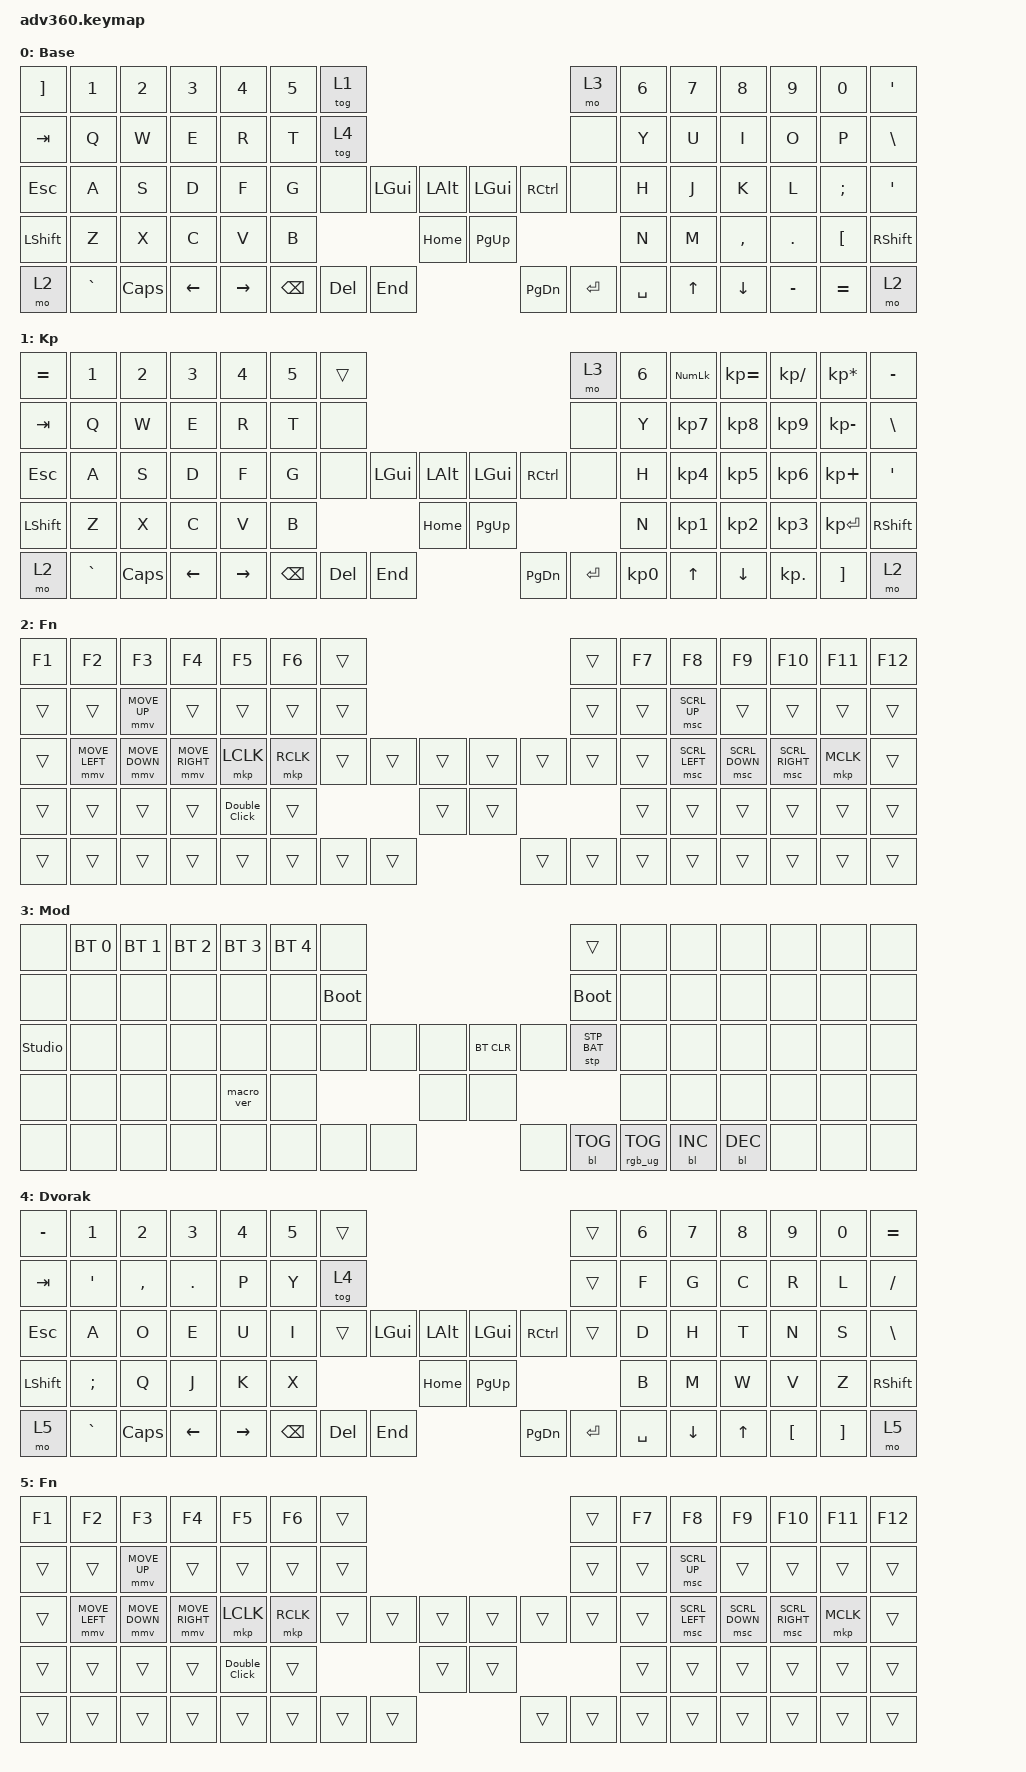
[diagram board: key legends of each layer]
#include <behaviors.dtsi>
#include <dt-bindings/zmk/keys.h>
#include <dt-bindings/zmk/bt.h>
#include <dt-bindings/zmk/rgb.h>
#include <dt-bindings/zmk/stp.h>
#include <dt-bindings/zmk/backlight.h>
#include <dt-bindings/zmk/pointing.h>

/ {
    behaviors {
      #include "macros.dtsi"
      #include "version.dtsi"

      hm: homerow_mods {
          compatible = "zmk,behavior-hold-tap";
          label = "HOMEROW_MODS";
          #binding-cells = <2>;
          tapping-term-ms = <200>;
          quick_tap_ms = <175>;
          flavor = "tap-preferred";
          bindings = <&kp>, <&kp>;
      };
    };

  keymap {
    compatible = "zmk,keymap";

    default_layer {
      display-name = "Base";
      bindings = <
        &kp RBKT  &kp N1    &kp N2   &kp N3   &kp N4     &kp N5 &tog 1                                                           &mo 3 &kp N6 &kp N7 &kp N8    &kp N9   &kp N0   &kp SQT
        &kp TAB   &kp Q     &kp W    &kp E    &kp R      &kp T  &tog 4                                                           &none &kp Y  &kp U  &kp I     &kp O    &kp P    &kp BSLH
        &kp ESC   &kp A     &kp S    &kp D    &kp F      &kp G  &none           &kp LGUI  &kp LALT &kp LGUI  &kp RCTRL           &none &kp H  &kp J  &kp K     &kp L    &kp SEMI &kp SQT
        &kp LSHFT &kp Z     &kp X    &kp C    &kp V      &kp B                            &kp HOME &kp PG_UP                           &kp N  &kp M  &kp COMMA &kp DOT  &kp LBKT &kp RSHFT
        &mo 2     &kp GRAVE &kp CAPS &kp LEFT &kp RIGHT                &kp BSPC &kp DEL   &kp END  &kp PG_DN &kp ENTER &kp SPACE              &kp UP &kp DOWN  &kp MINUS &kp EQUAL &mo 2
      >;
    };
    keypad {
      display-name = "Kp";
      bindings = <
        &kp EQUAL &kp N1    &kp N2   &kp N3   &kp N4     &kp N5 &trans                                                           &mo 3 &kp N6 &kp KP_NUM &kp KP_EQUAL &kp KP_DIVIDE &kp KP_MULTIPLY &kp MINUS
        &kp TAB   &kp Q     &kp W    &kp E    &kp R      &kp T  &none                                                            &none &kp Y  &kp KP_N7  &kp KP_N8    &kp KP_N9     &kp KP_MINUS    &kp BSLH
        &kp ESC   &kp A     &kp S    &kp D    &kp F      &kp G  &none           &kp LGUI  &kp LALT &kp LGUI  &kp RCTRL           &none &kp H  &kp KP_N4  &kp KP_N5    &kp KP_N6     &kp KP_PLUS     &kp SQT
        &kp LSHFT &kp Z     &kp X    &kp C    &kp V      &kp B                            &kp HOME &kp PG_UP                           &kp N  &kp KP_N1  &kp KP_N2    &kp KP_N3     &kp KP_ENTER    &kp RSHFT
        &mo 2     &kp GRAVE &kp CAPS &kp LEFT &kp RIGHT                &kp BSPC &kp DEL   &kp END  &kp PG_DN &kp ENTER &kp KP_N0              &kp UP     &kp DOWN     &kp KP_DOT    &kp RBKT        &mo 2
      >;
    };
    fn {
      display-name = "Fn";
      bindings = <
        &kp F1 &kp F2 &kp F3 &kp F4 &kp F5 &kp F6 &trans                                           &trans &kp F7 &kp F8 &kp F9 &kp F10 &kp F11 &kp F12
        &trans &trans &mmv MOVE_UP &trans &trans &trans  &trans                                           &trans &trans &msc SCRL_UP &trans &trans  &trans  &trans
        &trans &mmv MOVE_LEFT &mmv MOVE_DOWN &mmv MOVE_RIGHT &mkp LCLK &mkp RCLK  &trans        &trans &trans &trans &trans        &trans &trans &msc SCRL_LEFT &msc SCRL_DOWN &msc SCRL_RIGHT  &mkp MCLK  &trans
        &trans &trans &trans &trans &Double_Click &trans                      &trans &trans                     &trans &trans &trans &trans  &trans  &trans
        &trans &trans &trans &trans &trans               &trans &trans &trans &trans &trans &trans              &trans &trans &trans  &trans  &trans
      >;
    };
    mod {
      display-name = "Mod";
      bindings = <
        &none &bt BT_SEL 0 &bt BT_SEL 1 &bt BT_SEL 2 &bt BT_SEL 3 &bt BT_SEL 4 &none                                                                     &trans                 &none        &none        &none        &none &none &none
        &none &none        &none        &none        &none        &none        &bootloader                                                               &bootloader            &none        &none        &none        &none &none &none
        &studio_unlock &none        &none        &none        &none        &none        &none                   &none &none &bt BT_CLR &none                      &stp STP_BAT &none        &none        &none        &none &none &none
        &none &none        &none        &none        &macro_ver   &none                                      &none &none                                                        &none        &none        &none        &none &none &none
        &none &none        &none        &none        &none                                       &none &none &none &none      &bl BL_TOG &rgb_ug RGB_TOG                                     &bl BL_INC   &bl BL_DEC   &none &none &none
      >;
    };
    extra1 { 
      display-name = "Dvorak";
      bindings = <
        &kp MINUS &kp N1    &kp N2   &kp N3   &kp N4     &kp N5 &trans                                                           &trans &kp N6 &kp N7 &kp N8    &kp N9   &kp N0   &kp EQUAL
        &kp TAB   &kp SQT   &kp COMMA &kp DOT &kp P      &kp Y  &tog 4                                                           &trans &kp F  &kp G  &kp C     &kp R    &kp L    &kp FSLH
        &kp ESC   &kp A     &kp O    &kp E    &kp U      &kp I  &trans          &kp LGUI  &kp LALT &kp LGUI  &kp RCTRL           &trans &kp D  &kp H  &kp T     &kp N    &kp S    &kp BSLH
        &kp LSHFT &kp SEMI  &kp Q    &kp J    &kp K      &kp X                            &kp HOME &kp PG_UP                           &kp B  &kp M  &kp W     &kp V    &kp Z    &kp RSHFT
        &mo 5     &kp GRAVE &kp CAPS &kp LEFT &kp RIGHT                &kp BSPC &kp DEL   &kp END  &kp PG_DN &kp ENTER &kp SPACE              &kp DOWN &kp UP  &kp LBKT &kp RBKT &mo 5
      >;
    };

    extra2 {
      display-name = "Fn";
      bindings = <
        &kp F1 &kp F2 &kp F3 &kp F4 &kp F5 &kp F6 &trans                                           &trans &kp F7 &kp F8 &kp F9 &kp F10 &kp F11 &kp F12
        &trans &trans &mmv MOVE_UP &trans &trans &trans  &trans                                           &trans &trans &msc SCRL_UP &trans &trans  &trans  &trans
        &trans &mmv MOVE_LEFT &mmv MOVE_DOWN &mmv MOVE_RIGHT &mkp LCLK &mkp RCLK  &trans        &trans &trans &trans &trans        &trans &trans &msc SCRL_LEFT &msc SCRL_DOWN &msc SCRL_RIGHT  &mkp MCLK  &trans
        &trans &trans &trans &trans &Double_Click &trans                      &trans &trans                     &trans &trans &trans &trans  &trans  &trans
        &trans &trans &trans &trans &trans               &trans &trans &trans &trans &trans &trans              &trans &trans &trans  &trans  &trans
      >;
    };

    extra4 { 
      display-name = "Yellow";    
      status = "reserved";
    };
  };
};
